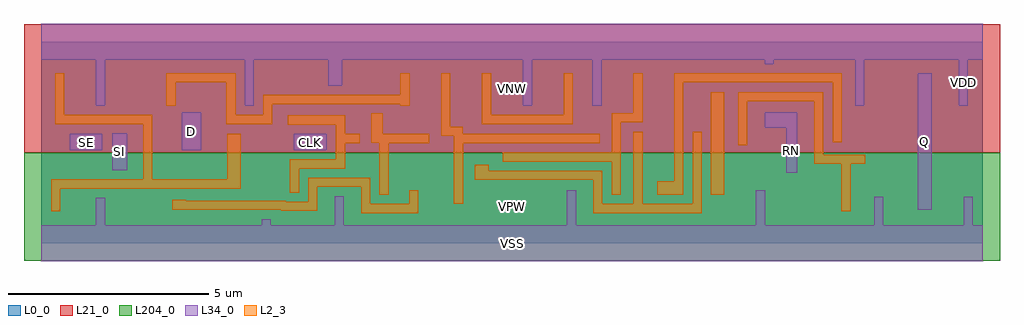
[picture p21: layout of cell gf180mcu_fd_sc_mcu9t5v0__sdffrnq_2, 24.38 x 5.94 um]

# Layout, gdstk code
import gdstk
lib = gdstk.Library(unit=1e-6, precision=1e-09)
def R(c, l, rs):  # rectangles x0, y0, x1, y1
    for r in rs: c.add(gdstk.rectangle(r[:2], r[2:], *l))
L0_0 = (0, 0)
L2_3 = (2, 3)
L21_0 = (21, 0)
L34_0 = (34, 0)
L204_0 = (204, 0)

gf180mcu_fd_sc_mcu9t5v0_ = lib.new_cell('gf180mcu_fd_sc_mcu9t5v0__sdffrnq_2')
R(gf180mcu_fd_sc_mcu9t5v0_, L0_0, [(0,0,23.52,5.04)])
R(gf180mcu_fd_sc_mcu9t5v0_, L2_3, [(7.99,0.755,9.42,0.985), (13.79,0.755,16.5,0.985), (0.245,0.8,0.475,1.37), (19.99,0.8,20.22,1.985), (6,0.81,6.9,0.835), (3.27,0.835,6.9,1.04), (7.99,0.985,8.22,1.41), (9.19,0.985,9.42,1.325), (10.31,0.985,10.54,2.505), (13.79,0.985,14.02,1.585), (14.79,0.985,15.02,2.79), (16.27,0.985,16.5,2.79), (3.27,1.04,6.105,1.065), (6.67,1.04,6.9,1.41), (3.27,1.065,3.61,1.085), (8.45,1.215,8.68,2.505), (14.25,1.215,14.48,2.045), (15.39,1.215,16.04,1.555), (16.73,1.215,17.06,3.78), (6.21,1.27,6.44,1.87), (0.245,1.37,4.99,1.6), (6.67,1.41,8.22,1.64), (15.81,1.555,16.04,4.02), (10.835,1.585,14.02,1.815), (2.545,1.6,2.775,2.98), (4.65,1.6,4.99,2.735), (10.835,1.815,11.175,1.96), (6.21,1.87,7.59,2.1), (19.31,1.985,20.585,2.215), (11.535,2.045,14.48,2.275), (7.36,2.1,7.59,2.505), (19.31,2.215,19.54,3.55), (14.25,2.275,14.48,3.02), (17.41,2.45,17.64,3.55), (7.36,2.505,7.955,2.735), (8.45,2.505,9.695,2.52), (10.31,2.505,13.955,2.685), (8.25,2.52,9.695,2.735), (19.77,2.525,20,4.02), (9.99,2.685,13.955,2.735), (7.36,2.735,7.59,2.965), (8.25,2.735,8.535,3.25), (9.99,2.735,10.535,2.915), (9.99,2.915,10.22,4.25), (6.155,2.965,7.59,3.195), (0.345,2.98,2.775,3.21), (4.625,2.98,5.775,3.21), (11.01,2.98,13.28,3.21), (14.25,3.02,15.02,3.25), (0.345,3.21,0.575,4.25), (4.625,3.21,4.855,4.02), (5.545,3.21,5.775,3.48), (11.01,3.21,11.24,4.25), (13.05,3.21,13.28,4.25), (14.79,3.25,15.02,4.25), (3.125,3.44,3.355,4.02), (8.97,3.44,9.2,3.48), (5.545,3.48,9.2,3.71), (17.41,3.55,19.54,3.78), (8.97,3.71,9.2,4.25), (3.125,4.02,4.855,4.25), (15.81,4.02,20,4.25)])
R(gf180mcu_fd_sc_mcu9t5v0_, L21_0, [(-0.43,2.265,23.95,5.47)])
R(gf180mcu_fd_sc_mcu9t5v0_, L34_0, [(0,-0.45,23.52,0.45), (1.365,0.45,1.595,1.14), (5.505,0.45,5.735,0.605), (7.33,0.45,7.56,1.18), (13.13,0.45,13.36,1.325), (17.85,0.45,18.08,1.325), (20.805,0.45,21.035,1.16), (23.045,0.45,23.275,1.16), (21.895,0.84,22.25,4.25), (18.61,1.77,18.89,2.89), (1.77,1.83,2.15,2.75), (0.71,2.33,1.53,2.735), (3.51,2.33,3.995,3.27), (6.31,2.33,7.13,2.735), (18.07,2.89,18.89,3.27), (1.365,3.44,1.595,4.59), (5.085,3.44,5.315,4.59), (12.03,3.44,12.26,4.59), (13.77,3.44,14,4.59), (20.33,3.44,20.56,4.59), (22.915,3.44,23.145,4.59), (7.175,3.94,7.515,4.59), (18.07,4.48,18.3,4.59), (0,4.59,23.52,5.49)])
R(gf180mcu_fd_sc_mcu9t5v0_, L204_0, [(-0.43,-0.43,23.95,2.265)])
gf180mcu_fd_sc_mcu9t5v0_.add(gdstk.Label('D', (3.752,2.8), layer=34, texttype=10))
gf180mcu_fd_sc_mcu9t5v0_.add(gdstk.Label('RN', (18.75,2.33), layer=34, texttype=10))
gf180mcu_fd_sc_mcu9t5v0_.add(gdstk.Label('SE', (1.12,2.532), layer=34, texttype=10))
gf180mcu_fd_sc_mcu9t5v0_.add(gdstk.Label('SI', (1.96,2.29), layer=34, texttype=10))
gf180mcu_fd_sc_mcu9t5v0_.add(gdstk.Label('CLK', (6.72,2.532), layer=34, texttype=10))
gf180mcu_fd_sc_mcu9t5v0_.add(gdstk.Label('Q', (22.072,2.545), layer=34, texttype=10))
gf180mcu_fd_sc_mcu9t5v0_.add(gdstk.Label('VDD', (23.03,4.015), layer=34, texttype=10))
gf180mcu_fd_sc_mcu9t5v0_.add(gdstk.Label('VSS', (11.76,0), layer=34, texttype=10))
gf180mcu_fd_sc_mcu9t5v0_.add(gdstk.Label('VNW', (11.76,3.867), layer=3, texttype=1))
gf180mcu_fd_sc_mcu9t5v0_.add(gdstk.Label('VPW', (11.76,0.917), layer=4, texttype=1))

lib.write_gds('gf180mcu_fd_sc_mcu9t5v0__sdffrnq_2.gds')
